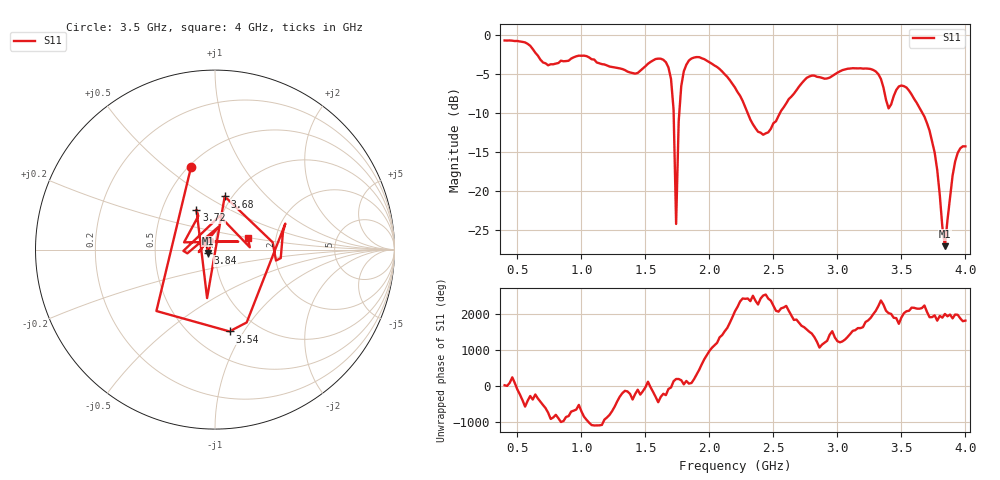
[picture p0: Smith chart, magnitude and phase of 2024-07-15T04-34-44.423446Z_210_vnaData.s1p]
!Created with skrf (http://scikit-rf.org).
# Hz S RI R 50.0
!freq ReS11 ImS11
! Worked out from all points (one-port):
!   181 points, 400 MHz to 4 GHz, reference 50 ohm
!   lowest |S11| = -27.0 dB at 3.84 GHz (marker M1), VSWR 1.09, Z = 46.1 - j1.78 ohm
!   |S11| at or under -10 dB: 1.721 GHz to 1.765 GHz (43.86 MHz wide, 2.52 % of centre); 2.3 GHz to 2.55 GHz (249.8 MHz wide, 10.3 % of centre); 3.667 GHz to end of sweep
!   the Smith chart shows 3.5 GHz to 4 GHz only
!   S11 on the Smith chart (normalised r, x): 3.5 GHz: 0.52, +0.61; 3.54 GHz: 0.75, -0.87; 3.68 GHz: 0.93, +0.60; 3.72 GHz: 0.74, +0.35; 3.84 GHz: 0.92, -0.04; 4 GHz: 1.43, +0.20
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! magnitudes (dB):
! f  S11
! 400 MHz  -0.6
! 740 MHz  -3.8
! 860 MHz  -3.3
! 1.3 GHz  -4.2
! 1.68 GHz  -4.1
! 1.7 GHz  -5.6
! 1.72 GHz  -9.5
! 1.74 GHz  -24.2
! 1.76 GHz  -11.0
! 1.78 GHz  -6.5
! 1.8 GHz  -4.6
! 1.86 GHz  -3.0
! 2.2 GHz  -6.7
! 2.42 GHz  -12.7
! 2.66 GHz  -7.5
! 2.78 GHz  -5.3
! 3.1 GHz  -4.2
! 3.3 GHz  -4.6
! 3.4 GHz  -9.4
! 3.5 GHz  -6.4
! 3.54 GHz  -6.7
! 3.56 GHz  -7.1
! 3.68 GHz  -10.4
! 3.72 GHz  -12.2
! 3.78 GHz  -17.3
! 3.84 GHz  -27.0
! 3.92 GHz  -16.2
! 4 GHz  -14.2
